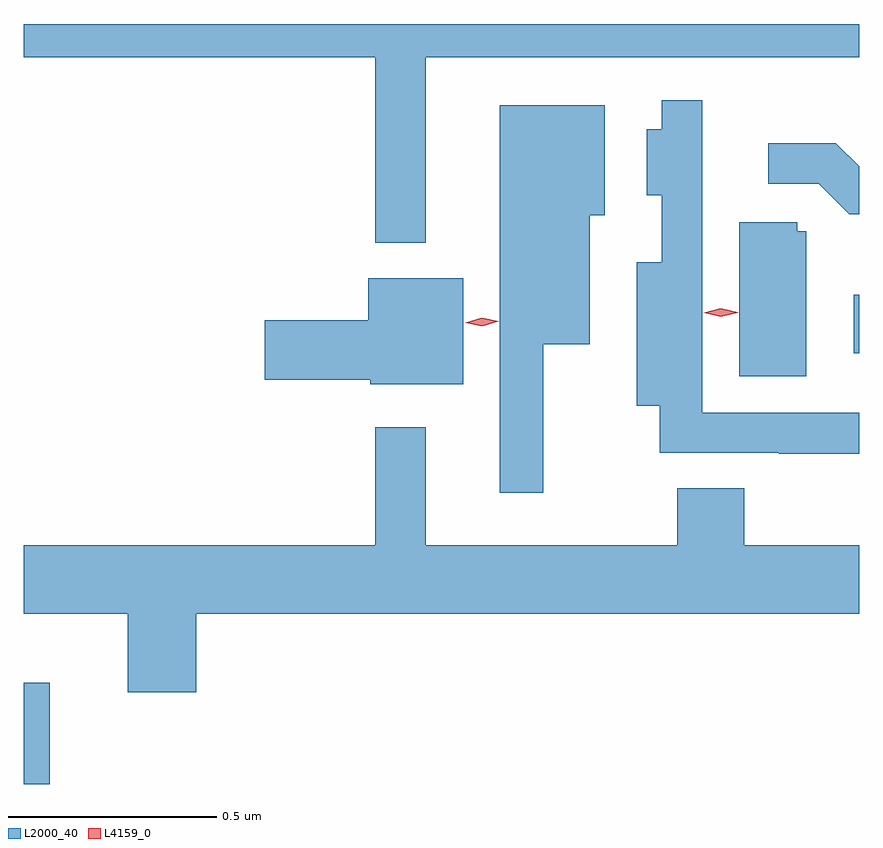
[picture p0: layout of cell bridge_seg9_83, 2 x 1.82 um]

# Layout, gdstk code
import gdstk
lib = gdstk.Library(unit=1e-6, precision=1e-09)
def R(c, l, rs):  # rectangles x0, y0, x1, y1
    for r in rs: c.add(gdstk.rectangle(r[:2], r[2:], *l))
def P(c, l, *ps):  # polygons
    for p in ps: c.add(gdstk.Polygon(p, *l))
L2000_40 = (2000, 40)
L4159_0 = (4159, 0)

bridge_seg9_83 = lib.new_cell('bridge_seg9_83')
R(bridge_seg9_83, L2000_40, [(884.039,1245.296,884.101,1245.538), (886.026,1246.328,886.039,1246.468)])
P(bridge_seg9_83, L2000_40, [(885.001,1247.036),(886.039,1247.036),(886.039,1247.116),(884.039,1247.116),(884.039,1247.036),(884.88,1247.036),(884.88,1246.592),(885.001,1246.592)],
  [(886.039,1246.185),(885.664,1246.185),(885.664,1246.442),(885.663,1246.442),(885.663,1246.71),(885.664,1246.71),(885.664,1246.933),(885.566,1246.933),(885.566,1246.864),(885.53,1246.864),(885.53,1246.706),(885.566,1246.706),(885.566,1246.546),(885.506,1246.546),(885.506,1246.202),(885.562,1246.202),(885.562,1246.089),(885.847,1246.089),(885.847,1246.087),(886.039,1246.087)],
  [(885.283,1246.349),(885.394,1246.349),(885.394,1246.658),(885.43,1246.658),(885.43,1246.921),(885.179,1246.921),(885.179,1245.993),(885.283,1245.993)],
  [(886.039,1246.775),(885.983,1246.831),(885.822,1246.831),(885.822,1246.734),(885.942,1246.734),(886.015,1246.661),(886.039,1246.661)],
  [(885.913,1246.62),(885.891,1246.62),(885.891,1246.641),(885.752,1246.641),(885.752,1246.272),(885.913,1246.272)],
  [(885.091,1246.507),(884.864,1246.507),(884.864,1246.406),(884.616,1246.406),(884.616,1246.264),(884.868,1246.264),(884.868,1246.253),(885.091,1246.253)],
  [(884.452,1245.704),(886.039,1245.704),(886.039,1245.868),(885.764,1245.868),(885.764,1246.004),(885.604,1246.004),(885.604,1245.868),(885.001,1245.868),(885.001,1246.15),(884.88,1246.15),(884.88,1245.868),(884.039,1245.868),(884.039,1245.704),(884.288,1245.704),(884.288,1245.516),(884.452,1245.516)])
P(bridge_seg9_83, L4159_0, [(885.708,1246.415),(885.667,1246.424),(885.667,1246.424),(885.667,1246.424),(885.708,1246.435),(885.749,1246.426),(885.749,1246.426),(885.749,1246.425)],
  [(885.136,1246.392),(885.096,1246.4),(885.096,1246.4),(885.096,1246.4),(885.135,1246.412),(885.176,1246.404),(885.176,1246.404),(885.176,1246.404)])

lib.write_gds('bridge_seg9_83.gds')
